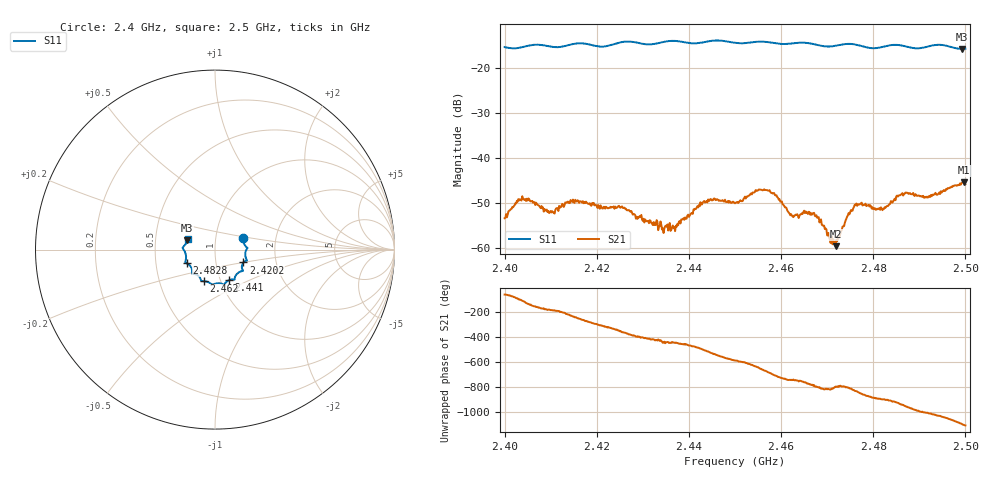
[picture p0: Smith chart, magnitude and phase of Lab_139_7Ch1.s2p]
# Hz S RI R 50
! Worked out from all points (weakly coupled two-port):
!   601 points, 2.4 GHz to 2.5 GHz, reference 50 ohm
!   highest |S21| = -45.39 dB at 2.4997 GHz (marker M1); lowest = -59.6 dB at 2.4718 GHz (marker M2)
!   lowest |S11| = -15.8 dB at 2.4993 GHz (marker M3), VSWR 1.39, Z = 36.5 + j3.85 ohm
!   |S11| at or under -10 dB: start of sweep to end of sweep
!   S12 and S22 are empty: the file has one direction only
!   S11 on the Smith chart (normalised r, x): 2.4 GHz: 1.36, +0.18; 2.4202 GHz: 1.36, -0.20; 2.441 GHz: 1.10, -0.39; 2.462 GHz: 0.84, -0.30; 2.4828 GHz: 0.72, -0.11; 2.5 GHz: 0.73, +0.09
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2.4e9  0.1582 0.0625  0.00119 -0.00177  0 0  0 0
2.4035e9  0.1667 0.0239  -0.000492 -0.00337  0 0  0 0
2.410333e9  0.1708 -0.00963  -0.00255 9.25e-05  0 0  0 0
2.416667e9  0.1775 -0.0606  -0.000693 0.0032  0 0  0 0
2.420167e9  0.1584 -0.0714  0.00126 0.00248  0 0  0 0
2.433333e9  0.112 -0.1512  0.000897 -0.00129  0 0  0 0
2.4365e9  0.1088 -0.1674  0.000271 -0.00175  0 0  0 0
2.441e9  0.0787 -0.1699  -0.000955 -0.0025  0 0  0 0
2.445e9  0.0525 -0.193  -0.00326 -0.000801  0 0  0 0
2.45e9  0.0284 -0.1878  -0.0022 0.00223  0 0  0 0
2.457e9  -0.02 -0.1927  0.00318 0.00301  0 0  0 0
2.462e9  -0.0603 -0.1759  0.00214 -0.000848  0 0  0 0
2.466667e9  -0.0788 -0.168  0.0011 -0.00207  0 0  0 0
2.471833e9  -0.1119 -0.1362  0.000285 -0.00101  0 0  0 0
2.476333e9  -0.1271 -0.129  -0.00111 -0.00291  0 0  0 0
2.482833e9  -0.1574 -0.0768  -0.00288 8.67e-06  0 0  0 0
2.483333e9  -0.1605 -0.0754  -0.00298 0.000305  0 0  0 0
2.486667e9  -0.1637 -0.0626  -0.00279 0.00285  0 0  0 0
2.4915e9  -0.1705 -0.00667  0.000926 0.00352  0 0  0 0
2.499333e9  -0.1543 0.0514  0.00511 -0.00156  0 0  0 0
2.499667e9  -0.1532 0.0562  0.005 -0.00196  0 0  0 0
2.5e9  -0.1523 0.061  0.00457 -0.00222  0 0  0 0
